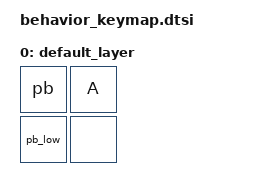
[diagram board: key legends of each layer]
#include <dt-bindings/zmk/keys.h>
#include <behaviors.dtsi>
#include <dt-bindings/zmk/kscan_mock.h>
#include <dt-bindings/gpio/gpio.h>

/ {
    behaviors {
        pb: pushbutton {
            compatible = "zmk,behavior-pushbutton";
            #binding-cells = <0>;
            gpios = <&gpio0 5 GPIO_ACTIVE_HIGH>;
            press-duration-ms = <50>;
        };

        pb_low: pushbutton_low {
            compatible = "zmk,behavior-pushbutton";
            #binding-cells = <0>;
            gpios = <&gpio0 6 GPIO_ACTIVE_LOW>;
            press-duration-ms = <100>;
        };
    };

    keymap {
        compatible = "zmk,keymap";

        default_layer {
            bindings = <
                &pb     &kp A
                &pb_low &none>;
        };
    };
};
